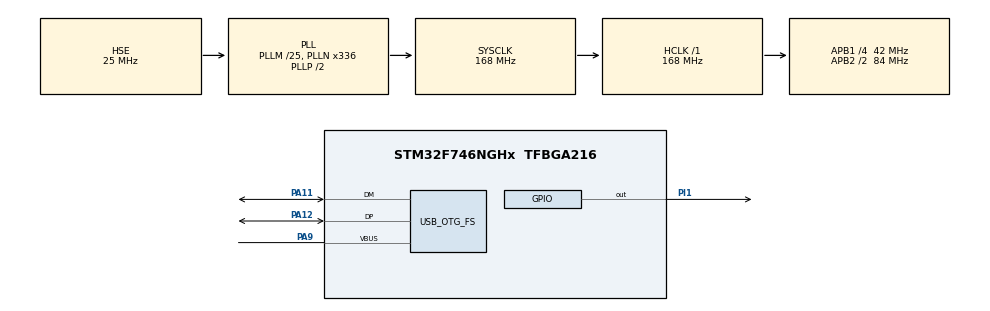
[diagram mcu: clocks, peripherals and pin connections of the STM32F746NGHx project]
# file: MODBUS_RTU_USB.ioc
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CORTEX_M7.ART_ACCLERATOR_ENABLE=0
CORTEX_M7.CPU_DCache=Disabled
CORTEX_M7.CPU_ICache=Disabled
CORTEX_M7.PREFETCH_ENABLE=0
Mcu.Family=STM32F7
Mcu.Name=STM32F746NGHx
Mcu.Package=TFBGA216
NVIC.OTG_FS_IRQn=true\:0\:0\:false\:false\:true\:false
NVIC.PriorityGroup=NVIC_PRIORITYGROUP_4
PA11.Mode=Device_Only
PA11.Signal=USB_OTG_FS_DM
PA12.Mode=Device_Only
PA12.Signal=USB_OTG_FS_DP
PA9.Mode=Activate_VBUS
PA9.Signal=USB_OTG_FS_VBUS
PH0/OSC_IN.Mode=HSE-External-Clock-Source
PH0/OSC_IN.Signal=RCC_OSC_IN
PH1/OSC_OUT.Mode=HSE-External-Clock-Source
PH1/OSC_OUT.Signal=RCC_OSC_OUT
PI1.GPIO_Speed=GPIO_SPEED_FREQ_VERY_HIGH
PI1.Signal=GPIO_Output
ProjectManager.HeapSize=0x2000
ProjectManager.StackSize=0x2000
ProjectManager.TargetToolchain=MDK-ARM V5
RCC.AHBFreq_Value=168000000
RCC.APB1CLKDivider=RCC_HCLK_DIV4
RCC.APB1Freq_Value=42000000
RCC.APB1TimFreq_Value=84000000
RCC.APB2CLKDivider=RCC_HCLK_DIV2
RCC.APB2Freq_Value=84000000
RCC.APB2TimFreq_Value=168000000
RCC.CortexFreq_Value=168000000
RCC.HCLKFreq_Value=168000000
RCC.HSE_VALUE=25000000
RCC.HSI_VALUE=16000000
RCC.LSE_VALUE=32768
RCC.PLLM=25
RCC.PLLN=336
RCC.PLLQ=7
RCC.SYSCLKFreq_VALUE=168000000
RCC.SYSCLKSource=RCC_SYSCLKSOURCE_PLLCLK
RCC.USBFreq_Value=48000000
RCC.VCOOutputFreq_Value=336000000
USB_DEVICE.CLASS_NAME_FS=CDC
USB_DEVICE.VirtualMode-CDC_FS=Cdc
USB_DEVICE.VirtualModeFS=Cdc_FS
USB_OTG_FS.VirtualMode=Device_Only
USB_OTG_FS.ep0_mps=DEP0CTL_MPS_64
VP_USB_DEVICE_VS_USB_DEVICE_CDC_FS.Mode=CDC_FS
board=MODBUS_RTU_USB

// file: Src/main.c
/**
  ******************************************************************************
  * File Name          : main.c
  * Description        : Main program body
  ******************************************************************************
  * This notice applies to any and all portions of this file
  * that are not between comment pairs USER CODE BEGIN and
  * USER CODE END. Other portions of this file, whether
  * inserted by the user or by software development tools
  * are owned by their respective copyright owners.
  *
  * Copyright (c) 2017 STMicroelectronics International N.V.
  * All rights reserved.
  *
  * Redistribution and use in source and binary forms, with or without
  * modification, are permitted, provided that the following conditions are met:
  *
  * 1. Redistribution of source code must retain the above copyright notice,
  *    this list of conditions and the following disclaimer.
  * 2. Redistributions in binary form must reproduce the above copyright notice,
  *    this list of conditions and the following disclaimer in the documentation
  *    and/or other materials provided with the distribution.
  * 3. Neither the name of STMicroelectronics nor the names of other
  *    contributors to this software may be used to endorse or promote products
  *    derived from this software without specific written permission.
  * 4. This software, including modifications and/or derivative works of this
  *    software, must execute solely and exclusively on microcontroller or
  *    microprocessor devices manufactured by or for STMicroelectronics.
  * 5. Redistribution and use of this software other than as permitted under
  *    this license is void and will automatically terminate your rights under
  *    this license.
  *
  * THIS SOFTWARE IS PROVIDED BY STMICROELECTRONICS AND CONTRIBUTORS "AS IS"
  * AND ANY EXPRESS, IMPLIED OR STATUTORY WARRANTIES, INCLUDING, BUT NOT
  * LIMITED TO, THE IMPLIED WARRANTIES OF MERCHANTABILITY, FITNESS FOR A
  * PARTICULAR PURPOSE AND NON-INFRINGEMENT OF THIRD PARTY INTELLECTUAL PROPERTY
  * RIGHTS ARE DISCLAIMED TO THE FULLEST EXTENT PERMITTED BY LAW. IN NO EVENT
  * SHALL STMICROELECTRONICS OR CONTRIBUTORS BE LIABLE FOR ANY DIRECT, INDIRECT,
  * INCIDENTAL, SPECIAL, EXEMPLARY, OR CONSEQUENTIAL DAMAGES (INCLUDING, BUT NOT
  * LIMITED TO, PROCUREMENT OF SUBSTITUTE GOODS OR SERVICES; LOSS OF USE, DATA,
  * OR PROFITS; OR BUSINESS INTERRUPTION) HOWEVER CAUSED AND ON ANY THEORY OF
  * LIABILITY, WHETHER IN CONTRACT, STRICT LIABILITY, OR TORT (INCLUDING
  * NEGLIGENCE OR OTHERWISE) ARISING IN ANY WAY OUT OF THE USE OF THIS SOFTWARE,
  * EVEN IF ADVISED OF THE POSSIBILITY OF SUCH DAMAGE.
  *
  ******************************************************************************
  */

#include "main.h"
#include "stm32f7xx_hal.h"
#include "usb_device.h"

/* USER CODE BEGIN Includes */
#include "modbus.h"
#include "usb_buffer.h"
#include "usbd_cdc_if.h"

/* USER CODE END Includes */

static modbusProtocol modbusUSB;

static modbusRegister measures[10];
static modbusRegister states[10];
static modbusRegisters regs[2];

s_USBBuffer _usbBuffers;

/* USER CODE BEGIN PV */
/* Private variables ---------------------------------------------------------*/

/* USER CODE END PV */

void SystemClock_Config(void);
static void MX_GPIO_Init(void);

/* USER CODE BEGIN PFP */
/* Private function prototypes -----------------------------------------------*/

/* USER CODE END PFP */

/*!
  * @brief      IO Function for modbus.
 */
int8_t readFun( uint8_t *buff, uint16_t *count )
{

    int32_t index =_usbBuffers.pos_process;
    int32_t len =_usbBuffers.RxBuffersLength[index];
    int32_t i;

    for( i=0; i<len; i++)
        *buff++ = _usbBuffers.RxBuffers[index][i];

    *count = i;

    _usbBuffers.pos_process++;

    if(_usbBuffers.pos_process>=_MaxRxBuffersCount) //reach the last buffer, need to rewind to 0
        _usbBuffers.pos_process=0;

	//check if all data were processed
    if(_usbBuffers.pos_process==_usbBuffers.pos_receive)
        _usbBuffers.IsDataReceived=0;

    HAL_GPIO_TogglePin(GPIOI, GPIO_PIN_1 );

    return 0;

}

/*!
  * @brief      IO Function for modbus.
 */
int8_t writeFun( uint8_t *i, int16_t j )
{
    CDC_Transmit_FS( i, j );
    return 0;
}

/*!
  * @brief      IO Function for modbus.
 */
int8_t frameFun( void  )
{

    if( _usbBuffers.IsDataReceived )
        return 1;

    return 0;

}

int main(void)
{

    /* MCU Configuration----------------------------------------------------------*/

    /* Reset of all peripherals, Initializes the Flash interface and the Systick. */
    HAL_Init();

    /* Configure the system clock */
    SystemClock_Config();

    /* Initialize all configured peripherals */
    MX_GPIO_Init();
    MX_USB_DEVICE_Init();

    /* USER CODE BEGIN 2 */

//! initialize data
    _usbBuffers.pos_process = 0;
    _usbBuffers.pos_receive = 0;
    _usbBuffers.IsDataReceived = 0;

    regs[0].registersAddress = measures;
    regs[0].registersBase = 8192;
    regs[0].registersCount = 12;

    regs[1].registersAddress = states;
    regs[1].registersBase = 4096;
    regs[1].registersCount = 12;

//! registers definition
    modbusUSB.holdingRegisters = regs;
    modbusUSB.holdingStructCount = 2;

//! modbus initializing
    modbusUSB.ReadFrame = readFun;
    modbusUSB.SendFrame = writeFun;
    modbusUSB.IsFrame = frameFun;

    modbusUSB.addr = 1;
    modbusUSB.config = _modbusInited;
    modbusUSB.frameTotalCount = 0;
    modbusUSB.frameErrCount  = 0;

    /* USER CODE END 2 */

    /* Infinite loop */
    while (1)
    {

        ModbusThread(&modbusUSB);

    }

}

/** System Clock Configuration
*/
void SystemClock_Config(void)
{

    RCC_OscInitTypeDef RCC_OscInitStruct;
    RCC_ClkInitTypeDef RCC_ClkInitStruct;
    RCC_PeriphCLKInitTypeDef PeriphClkInitStruct;

    /**Configure the main internal regulator output voltage
    */
    __HAL_RCC_PWR_CLK_ENABLE();

    __HAL_PWR_VOLTAGESCALING_CONFIG(PWR_REGULATOR_VOLTAGE_SCALE2);

    /**Initializes the CPU, AHB and APB busses clocks
    */
    RCC_OscInitStruct.OscillatorType = RCC_OSCILLATORTYPE_HSE;
    RCC_OscInitStruct.HSEState = RCC_HSE_BYPASS;
    RCC_OscInitStruct.PLL.PLLState = RCC_PLL_ON;
    RCC_OscInitStruct.PLL.PLLSource = RCC_PLLSOURCE_HSE;
    RCC_OscInitStruct.PLL.PLLM = 25;
    RCC_OscInitStruct.PLL.PLLN = 336;
    RCC_OscInitStruct.PLL.PLLP = RCC_PLLP_DIV2;
    RCC_OscInitStruct.PLL.PLLQ = 7;
    if (HAL_RCC_OscConfig(&RCC_OscInitStruct) != HAL_OK)
    {
        _Error_Handler(__FILE__, __LINE__);
    }

    /**Initializes the CPU, AHB and APB busses clocks
    */
    RCC_ClkInitStruct.ClockType = RCC_CLOCKTYPE_HCLK|RCC_CLOCKTYPE_SYSCLK
                                  |RCC_CLOCKTYPE_PCLK1|RCC_CLOCKTYPE_PCLK2;
    RCC_ClkInitStruct.SYSCLKSource = RCC_SYSCLKSOURCE_PLLCLK;
    RCC_ClkInitStruct.AHBCLKDivider = RCC_SYSCLK_DIV1;
    RCC_ClkInitStruct.APB1CLKDivider = RCC_HCLK_DIV4;
    RCC_ClkInitStruct.APB2CLKDivider = RCC_HCLK_DIV2;

    if (HAL_RCC_ClockConfig(&RCC_ClkInitStruct, FLASH_LATENCY_5) != HAL_OK)
    {
        _Error_Handler(__FILE__, __LINE__);
    }

    PeriphClkInitStruct.PeriphClockSelection = RCC_PERIPHCLK_CLK48;
    PeriphClkInitStruct.Clk48ClockSelection = RCC_CLK48SOURCE_PLL;
    if (HAL_RCCEx_PeriphCLKConfig(&PeriphClkInitStruct) != HAL_OK)
    {
        _Error_Handler(__FILE__, __LINE__);
    }

    /**Configure the Systick interrupt time
    */
    HAL_SYSTICK_Config(HAL_RCC_GetHCLKFreq()/1000);

    /**Configure the Systick
    */
    HAL_SYSTICK_CLKSourceConfig(SYSTICK_CLKSOURCE_HCLK);

    /* SysTick_IRQn interrupt configuration */
    HAL_NVIC_SetPriority(SysTick_IRQn, 0, 0);
}

/** Configure pins as
        * Analog
        * Input
        * Output
        * EVENT_OUT
        * EXTI
*/
static void MX_GPIO_Init(void)
{

    GPIO_InitTypeDef GPIO_InitStruct;

    /* GPIO Ports Clock Enable */
    __HAL_RCC_GPIOA_CLK_ENABLE();
    __HAL_RCC_GPIOI_CLK_ENABLE();
    __HAL_RCC_GPIOH_CLK_ENABLE();

    /*Configure GPIO pin Output Level */
    HAL_GPIO_WritePin(GPIOI, GPIO_PIN_1, GPIO_PIN_SET);

    /*Configure GPIO pin : PI1 */
    GPIO_InitStruct.Pin = GPIO_PIN_1;
    GPIO_InitStruct.Mode = GPIO_MODE_OUTPUT_PP;
    GPIO_InitStruct.Pull = GPIO_NOPULL;
    GPIO_InitStruct.Speed = GPIO_SPEED_FREQ_VERY_HIGH;
    HAL_GPIO_Init(GPIOI, &GPIO_InitStruct);

}

void _Error_Handler(char * file, int line)
{
    while(1)
    {
    }
}

/************************ (C) COPYRIGHT STMicroelectronics *****END OF FILE****/
